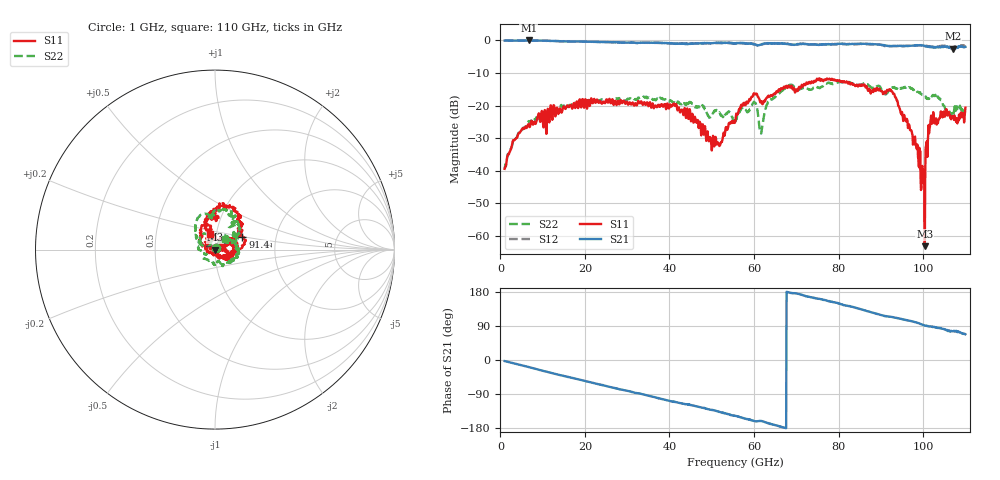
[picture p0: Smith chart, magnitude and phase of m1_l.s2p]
!Keysight Technologies,N5222B,MY58421742,A.17.00.05
!Date: Friday, September 20, 2024 13:24:08
!Correction: S11(C  2-Port  )
!S21(C  2-Port  )
!S12(C  2-Port  )
!S22(C  2-Port  )
!S2P File: Measurements: S11, S21, S12, S22:
# Hz S  dB  R 50
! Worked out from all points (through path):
!   1091 points, 1 GHz to 110 GHz, reference 50 ohm
!   highest |S21| = 0.01 dB at 6.7 GHz (marker M1); lowest = -2.5 dB at 107.1 GHz (marker M2)
!   group delay of S21, straight-line fit = 7.32 ps
!   lowest |S11| = -63.2 dB at 100.4 GHz (marker M3), VSWR 1.00, Z = 50 - j0.0494 ohm
!   |S11| at or under -10 dB: start of sweep to end of sweep
!   |S22| runs from -39.4 to -12.7 dB; largest |S21 - S12| = 0.12
!   S11 on the Smith chart (normalised r, x): 1 GHz: 1.01, +0.02; 91.4 GHz: 1.34, +0.20; 110 GHz: 0.93, +0.17
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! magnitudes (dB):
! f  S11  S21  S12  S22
! 1 GHz  -39.4  0.0  0.0  -39.4
! 3.3 GHz  -30.6  0.0  0.0  -30.4
! 6.7 GHz  -25.8  0.0  0.0  -24.8
! 19.2 GHz  -20.1  -0.3  -0.3  -19.6
! 37.4 GHz  -19.8  -0.7  -0.8  -18.0
! 44.5 GHz  -24.1  -1.1  -0.8  -19.4
! 51.6 GHz  -31.8  -0.6  -0.8  -21.9
! 55.5 GHz  -25.2  -0.9  -0.9  -25.0
! 60.1 GHz  -16.3  -1.2  -1.2  -18.9
! 61.7 GHz  -18.7  -1.2  -1.3  -28.6
! 63.4 GHz  -17.0  -0.8  -1.0  -18.8
! 67.6 GHz  -14.0  -1.0  -1.1  -14.5
! 73.7 GHz  -12.6  -1.2  -1.2  -15.1
! 91.4 GHz  -15.4  -1.6  -1.8  -16.3
! 91.9 GHz  -15.3  -1.8  -1.8  -15.4
! 98.2 GHz  -32.2  -1.5  -1.6  -15.3
! 99.9 GHz  -43.5  -1.6  -1.5  -16.8
! 100.4 GHz  -63.2  -1.8  -1.6  -17.4
! 101.1 GHz  -31.4  -1.9  -1.7  -17.9
! 102.1 GHz  -25.6  -2.0  -1.9  -17.0
! 107.1 GHz  -23.8  -2.5  -2.1  -22.7
! 110 GHz  -20.6  -2.0  -1.5  -21.9
